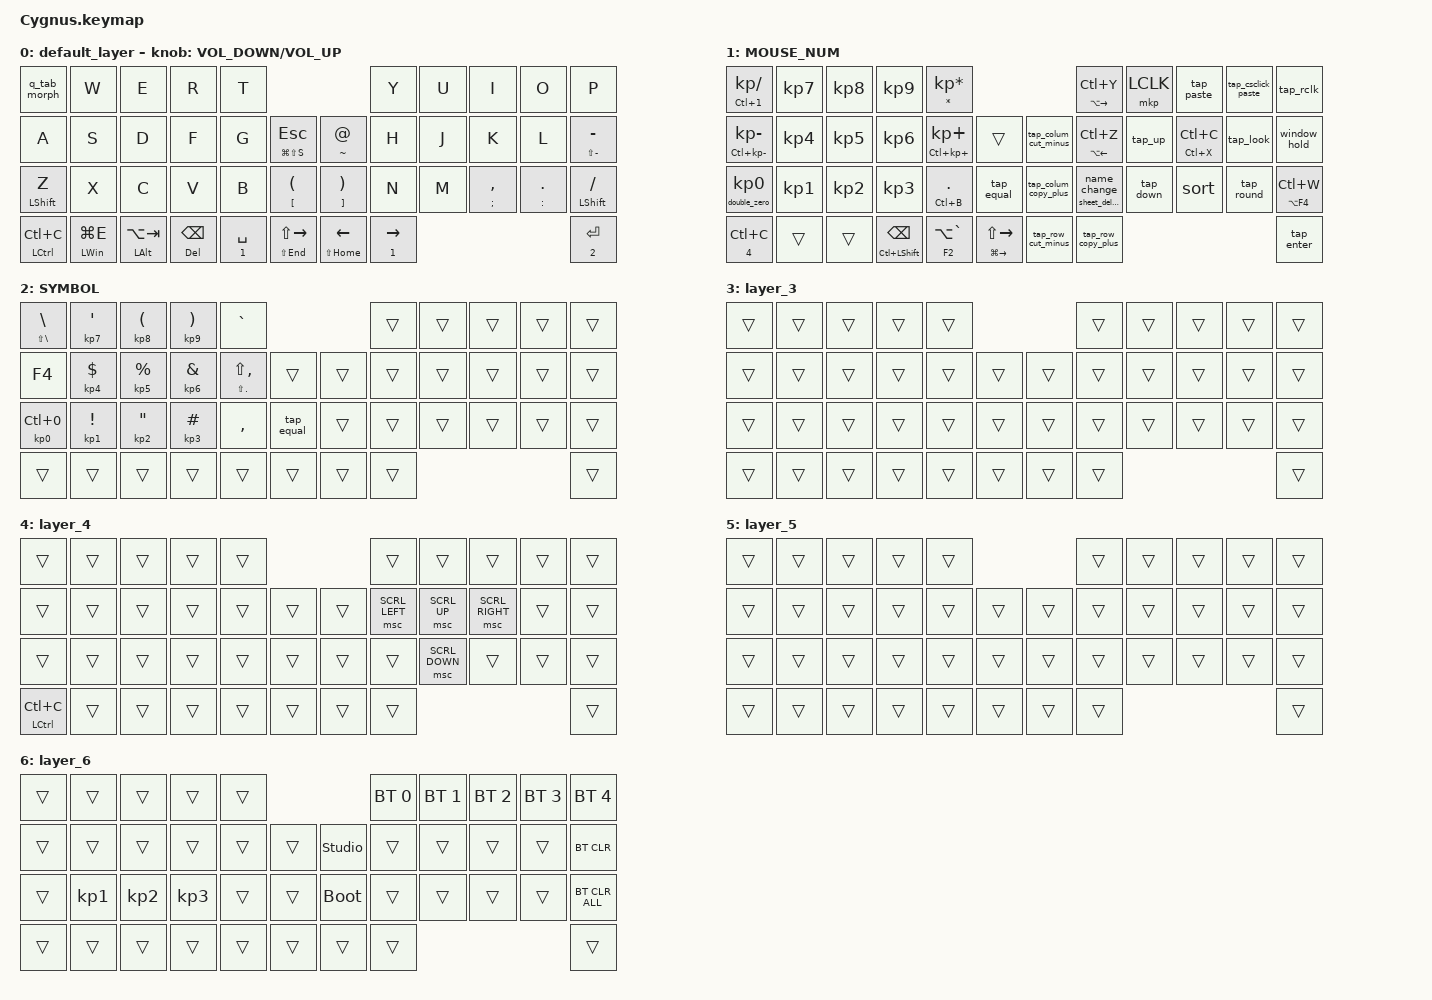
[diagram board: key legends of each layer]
#define ZMK_POINTING_DEFAULT_SCRL_VAL 60

#include <behaviors.dtsi>
#include <dt-bindings/zmk/bt.h>
#include <dt-bindings/zmk/keys.h>
#include <dt-bindings/zmk/pointing.h>

#define MOUSE 3
#define SCROLL 4
#define NUM 6

&mt {
    flavor = "balanced";
    quick-tap-ms = <250>;
    tapping-term-ms = <400>;
};

/ {
    combos {
        compatible = "zmk,combos";

        delete {
            bindings = <&mt_exit_AML_on_hold F12 DELETE>;
            key-positions = <8 9>;
            layers = <0 2 1>;
        };

        caps {
            bindings = <&mt CAPSLOCK TAB>;
            key-positions = <0 1>;
            layers = <0 2>;
        };

        f7 {
            bindings = <&kp F7>;
            key-positions = <6 5>;
            layers = <0>;
        };

        num_remove {
            bindings = <&remove_duplicates>;
            key-positions = <2 3>;
            layers = <1>;
        };

        num_numlock {
            bindings = <&mt KP_NUMLOCK TAB>;
            key-positions = <1 0>;
            layers = <1>;
        };

        merging {
            bindings = <&merging_cells>;
            key-positions = <40 41>;
            layers = <0 1>;
        };
    };

    macros {
        to_layer_0: to_layer_0 {
            compatible = "zmk,behavior-macro-one-param";
            #binding-cells = <1>;
            bindings = <&to 0 &macro_param_1to1 &kp MACRO_PLACEHOLDER>;
            label = "TO_LAYER_0";
        };

        exit_AML: exit_AML {
            compatible = "zmk,behavior-macro";
            wait-ms = <0>;
            tap-ms = <0>;
            #binding-cells = <0>;
            bindings = <&toggle_layer_off MOUSE>;
            label = "exit_AML";
        };

        kp_exit_AML: kp_exit_AML {
            compatible = "zmk,behavior-macro-one-param";
            wait-ms = <0>;
            tap-ms = <0>;
            #binding-cells = <1>;
            bindings = <&macro_param_1to1 &kp MACRO_PLACEHOLDER &exit_AML>;
            label = "KP_exit_AML";
        };

        mod_exit_AML: mod_exit_AML {
            compatible = "zmk,behavior-macro-one-param";
            wait-ms = <0>;
            tap-ms = <0>;
            #binding-cells = <1>;
            bindings =
                <&macro_press>,
                <&macro_param_1to1 &kp MACRO_PLACEHOLDER>,
                <&macro_tap>,
                <&exit_AML>,
                <&macro_pause_for_release>,
                <&macro_release>,
                <&macro_param_1to1 &kp MACRO_PLACEHOLDER>;

            label = "MOD_exit_AML";
        };

        mo_exit_AML: mo_exit_AML {
            compatible = "zmk,behavior-macro-one-param";
            wait-ms = <0>;
            tap-ms = <0>;
            #binding-cells = <1>;
            bindings =
                <&macro_press>,
                <&macro_param_1to1 &mo MACRO_PLACEHOLDER>,
                <&macro_tap>,
                <&exit_AML>,
                <&macro_pause_for_release>,
                <&macro_release>,
                <&macro_param_1to1 &mo MACRO_PLACEHOLDER>,
                <&macro_tap>;

            label = "MO_exit_AML";
        };

        shift_click: shift_crick {
            compatible = "zmk,behavior-macro";
            #binding-cells = <0>;
            bindings =
                <&macro_press>,
                <&kp LEFT_SHIFT>,
                <&macro_tap>,
                <&mkp LCLK>,
                <&macro_release>,
                <&kp LEFT_SHIFT>;

            label = "SHIFT_CRICK";
        };

        control_click: contolor_click {
            compatible = "zmk,behavior-macro";
            #binding-cells = <0>;
            bindings =
                <&macro_press>,
                <&kp LEFT_CONTROL &mkp LCLK>,
                <&macro_pause_for_release>,
                <&macro_release>,
                <&kp LEFT_CONTROL &mkp LCLK>;

            label = "CONTOLOR_CLICK";
        };

        alt_tab_swapper: alt_tab_swapper {
            compatible = "zmk,behavior-macro";
            #binding-cells = <0>;
            bindings =
                <&macro_press>,
                <&kp LEFT_ALT>,
                <&macro_tap>,
                <&kp TAB>,
                <&macro_pause_for_release>,
                <&macro_release>,
                <&kp LEFT_ALT>;

            label = "ALT_TAB_SWAPPER";
        };

        sort: transe_row_colum {
            compatible = "zmk,behavior-macro";
            #binding-cells = <0>;
            bindings = <&kp LA(D) &kp S>;
            label = "TRANSE_ROW_COLUM";
        };

        remove_duplicates: choufuku {
            compatible = "zmk,behavior-macro";
            #binding-cells = <0>;
            bindings = <&kp LEFT_ALT &kp A &kp M>;
            label = "CHOUFUKU";
        };

        window_hold: window_hold {
            compatible = "zmk,behavior-macro";
            #binding-cells = <0>;
            bindings = <&kp LEFT_ALT &kp W &kp F &kp F>;
            label = "WINDOW_HOLD";
        };

        merging_cells: merging_cells {
            compatible = "zmk,behavior-macro";
            #binding-cells = <0>;
            bindings = <&kp LEFT_ALT &kp H &kp M &kp C>;
            label = "MERGING_CELLS";
        };

        paste_formulas_only: paste_formulas_only {
            compatible = "zmk,behavior-macro";
            #binding-cells = <0>;
            bindings = <&kp LA(E) &kp S &kp F &kp ENTER>;
            label = "PASTE_FORMULAS_ONLY";
        };

        transpose_and_paste: transpose_and_paste {
            compatible = "zmk,behavior-macro";
            #binding-cells = <0>;
            bindings = <&kp LA(E) &kp S &kp E &kp V &kp ENTER>;
            label = "TRANSPOSE_AND_PASTE";
        };

        paste_memo_only: paste_memo_only {
            compatible = "zmk,behavior-macro";
            #binding-cells = <0>;
            bindings = <&kp LA(E) &kp S &kp C &kp ENTER>;
            label = "PASTE_MEMO_ONLY";
        };

        auto_calculation: auto_calculation {
            compatible = "zmk,behavior-macro";
            #binding-cells = <0>;
            bindings = <&kp LEFT_ALT &kp M &kp X &kp A>;
            label = "AUTO_CALCULATION";
        };

        auto_calculation_off: auto_calculation_off {
            compatible = "zmk,behavior-macro";
            #binding-cells = <0>;
            bindings = <&kp LEFT_ALT &kp M &kp X &kp M>;
            label = "AUTO_CALCULATION_OFF";
        };

        name_change: name_change {
            compatible = "zmk,behavior-macro";
            #binding-cells = <0>;
            bindings = <&mkp LCLK &kp F2>;
            label = "NAME_CHANGE";
        };

        sheet_delete: seet_delete {
            compatible = "zmk,behavior-macro";
            #binding-cells = <0>;
            bindings = <&kp LA(E) &kp L &kp ENTER>;
            label = "SEET_DELETE";
        };

        double_zero: double_zero {
            compatible = "zmk,behavior-macro";
            #binding-cells = <0>;
            bindings = <&kp KP_NUMBER_0 &kp KP_NUMBER_0>;
            label = "DOUBLE_ZERO";
        };

        row_plus: row_plus {
            compatible = "zmk,behavior-macro";
            #binding-cells = <0>;
            bindings = <&kp LS(SPACE) &kp LC(KP_PLUS)>;
            label = "ROW_PLUS";
        };

        row_minus: row_minus {
            compatible = "zmk,behavior-macro";
            #binding-cells = <0>;
            bindings = <&kp LS(SPACE) &kp LC(KP_MINUS)>;
            label = "ROW_MINUS";
        };

        colum_plus: colum_plus {
            compatible = "zmk,behavior-macro";
            #binding-cells = <0>;
            bindings = <&kp LC(SPACE) &kp LC(KP_PLUS)>;
            label = "COLUM_PLUS";
        };

        colum_minus: colum_minus {
            compatible = "zmk,behavior-macro";
            #binding-cells = <0>;
            bindings = <&kp LC(SPACE) &kp LC(KP_MINUS)>;
            label = "COLUM_MINUS";
        };

        row_copy: row_copy {
            compatible = "zmk,behavior-macro";
            #binding-cells = <0>;
            bindings = <&kp LS(SPACE) &kp LC(C)>;
            label = "ROW_COPY";
        };

        row_cut: row_cut {
            compatible = "zmk,behavior-macro";
            #binding-cells = <0>;
            bindings = <&kp LS(SPACE) &kp LC(X)>;
            label = "ROW_CUT";
        };

        colum_copy: colum_copy {
            compatible = "zmk,behavior-macro";
            #binding-cells = <0>;
            bindings = <&kp LC(SPACE) &kp LC(C)>;
            label = "COLUM_COPY";
        };

        colum_cut: colum_cut {
            compatible = "zmk,behavior-macro";
            #binding-cells = <0>;
            bindings = <&kp LC(SPACE) &kp LC(X)>;
            label = "COLUM_CUT";
        };

        vlookup: vlookup {
            compatible = "zmk,behavior-macro";
            #binding-cells = <0>;
            bindings = <&kp EQUAL &kp I &kp F &kp N &kp A &kp LEFT_PARENTHESIS &kp V &kp L &kp O &kp O &kp K &kp U &kp P &kp LEFT_PARENTHESIS>;
            label = "VLOOKUP";
        };

        sumif: sumif {
            compatible = "zmk,behavior-macro";
            #binding-cells = <0>;
            bindings = <&kp EQUAL &kp S &kp U &kp M &kp I &kp F &kp LPAR>;
            label = "SUMIF";
        };

        sumifs: sumifs {
            compatible = "zmk,behavior-macro";
            #binding-cells = <0>;
            bindings = <&kp EQUAL &kp S &kp U &kp M &kp I &kp F &kp S &kp LPAR>;
            label = "SUMIFS";
        };

        round: round {
            compatible = "zmk,behavior-macro";
            #binding-cells = <0>;
            bindings = <&kp EQUAL &kp R &kp O &kp U &kp N &kp D &kp LPAR &kp LPAR>;
            label = "ROUND";
        };

        roundup: roundup {
            compatible = "zmk,behavior-macro";
            #binding-cells = <0>;
            bindings = <&kp EQUAL &kp R &kp O &kp U &kp N &kp D &kp U &kp P &kp LPAR &kp LPAR>;
            label = "ROUNDUP";
        };

        rounddown: rounddown {
            compatible = "zmk,behavior-macro";
            #binding-cells = <0>;
            bindings = <&kp EQUAL &kp R &kp O &kp U &kp N &kp D &kp D &kp O &kp W &kp N &kp LPAR &kp LPAR>;
            label = "ROUNDDOWN";
        };

        sum: sum {
            compatible = "zmk,behavior-macro";
            #binding-cells = <0>;
            bindings = <&kp EQUAL &kp S &kp U &kp M &kp LPAR>;
            label = "SUM";
        };

        sumproduct: sumproduct {
            compatible = "zmk,behavior-macro";
            #binding-cells = <0>;
            bindings = <&kp EQUAL &kp S &kp U &kp M &kp P &kp R &kp O &kp D &kp U &kp C &kp T &kp LPAR>;
            label = "SUMPRODUCT";
        };
    };

    behaviors {
        lt_to_layer_0: lt_to_layer_0 {
            compatible = "zmk,behavior-hold-tap";
            #binding-cells = <2>;
            bindings = <&mo>, <&to_layer_0>;

            tapping-term-ms = <200>;
            label = "LT_TO_LAYER_0";
        };

        ROTATE: ROTATE {
            compatible = "zmk,behavior-sensor-rotate-var";
            label = "ROTATE";
            #sensor-binding-cells = <2>;
            bindings = <&msc>, <&msc>;

            tap-ms = <20>;
        };

        sl_250: sl_250 {
            compatible = "zmk,behavior-sticky-key";
            bindings = <&mo>;
            #binding-cells = <1>;
            release-after-ms = <250>;
            label = "SL_250";
        };

        toggle_layer_off: toggle_layer_off {
            compatible = "zmk,behavior-toggle-layer";
            #binding-cells = <1>;
            toggle-mode = "off";
            label = "TOGGLE_LAYER_OFF";
        };

        lt_exit_AML_on_hold: lt_exit_AML_on_hold {
            compatible = "zmk,behavior-hold-tap";
            bindings = <&mo_exit_AML>, <&kp>;

            #binding-cells = <2>;
            tapping-term-ms = <200>;
            quick-tap-ms = <200>;
            flavor = "balanced";
            label = "LT_EXIT_AML_ON_HOLD";
        };

        mt_exit_AML_on_hold: mt_exit_AML_on_hold {
            compatible = "zmk,behavior-hold-tap";
            bindings = <&mod_exit_AML>, <&kp>;

            #binding-cells = <2>;
            tapping-term-ms = <200>;
            flavor = "balanced";
            quick-tap-ms = <200>;
            label = "MT_EXIT_AML_ON_HOLD";
        };

        ht_ctrlclick_shiftclick: ht_ctrlclick_shiftclick {
            compatible = "zmk,behavior-hold-tap";
            bindings = <&control_click>, <&shift_click>;

            #binding-cells = <2>;
            tapping-term-ms = <200>;
            quick-tap-ms = <200>;
            flavor = "balanced";
            label = "HT_CTRLCLICK_SHIFTCLICK";
        };

        ht_calculation: ht_calculation {
            compatible = "zmk,behavior-hold-tap";
            bindings = <&auto_calculation>, <&auto_calculation_off>;

            #binding-cells = <2>;
            tapping-term-ms = <200>;
            quick-tap-ms = <200>;
            flavor = "balanced";
            label = "HT_CALCULATION";
        };

        ht_kp_vlookup: ht_kp_vlookup {
            compatible = "zmk,behavior-hold-tap";
            bindings = <&kp>, <&vlookup>;

            #binding-cells = <2>;
            tapping-term-ms = <200>;
            quick-tap-ms = <200>;
            flavor = "balanced";
            label = "HT_KP_VLOOKUP";
        };

        ht_sheet_delete_namechange: ht_sheet_delete_namechange {
            compatible = "zmk,behavior-hold-tap";
            bindings = <&sheet_delete>, <&name_change>;

            #binding-cells = <2>;
            tapping-term-ms = <400>;
            quick-tap-ms = <250>;
            flavor = "balanced";
            label = "HT_SHEET_DELETE_NAMECHANGE";
        };

        ht_doublezero_kp: ht_doublezero_kp {
            compatible = "zmk,behavior-hold-tap";
            bindings = <&double_zero>, <&kp>;

            #binding-cells = <2>;
            tapping-term-ms = <200>;
            quick-tap-ms = <200>;
            flavor = "balanced";
            label = "HT_DOUBLEZERO_KP";
        };

        q_tab_morph: q_tab_morph {
            compatible = "zmk,behavior-mod-morph";
            label = "Q_TAB_MORPH";
            bindings = <&kp Q>, <&alt_tab_swapper>;

            #binding-cells = <0>;
            mods = <(MOD_LALT|MOD_RALT)>;
            keep-mods = <(MOD_LALT|MOD_RALT)>;
        };

        tap_rclk: tap_rclk {
            compatible = "zmk,behavior-tap-dance";
            #binding-cells = <0>;
            bindings = <&mkp RCLK>, <&kp F9>, <&kp LC(S)>;

            tapping-term-ms = <250>;
            label = "TAP_RCLK";
        };

        tap_paste: tap_paste {
            compatible = "zmk,behavior-tap-dance";
            #binding-cells = <0>;
            bindings = <&kp LC(LS(V))>, <&kp LC(V)>, <&paste_formulas_only>;

            tapping-term-ms = <250>;
            label = "TAP_PASTE";
        };

        tap_csclick_paste: tap_csclick_paste {
            compatible = "zmk,behavior-tap-dance";
            #binding-cells = <0>;
            tapping-term-ms = <250>;
            label = "TAP_CSCLICK_PASTE";
            bindings =
                <&ht_ctrlclick_shiftclick 0 0>,
                <&transpose_and_paste>,
                <&paste_memo_only>;
        };

        tap_enter: tap_enter {
            compatible = "zmk,behavior-tap-dance";
            #binding-cells = <0>;
            bindings =
                <&mt_exit_AML_on_hold LG(D) LS(ENTER)>,
                <&mt F12 LA(ENTER)>;

            tapping-term-ms = <250>;
            label = "TAP_ENTER";
        };

        tap_equal: tap_equal {
            compatible = "zmk,behavior-tap-dance";
            #binding-cells = <0>;
            bindings = <&lt 6 EQUAL>, <&sum>, <&sumproduct>;

            tapping-term-ms = <250>;
            label = "TAP_EQUAL";
        };

        tap_look: tap_look {
            compatible = "zmk,behavior-tap-dance";
            #binding-cells = <0>;
            bindings =
                <&ht_kp_vlookup LC(LS(RIGHT_ARROW)) 0>,
                <&sumif>,
                <&sumifs>;

            tapping-term-ms = <250>;
            label = "TAP_LOOK";
        };

        tap_round: tap_round {
            compatible = "zmk,behavior-tap-dance";
            #binding-cells = <0>;
            bindings = <&round>, <&roundup>, <&rounddown>;

            tapping-term-ms = <250>;
            label = "TAP_ROUND";
        };

        tap_row_copy_plus: tap_row_copy_plus {
            compatible = "zmk,behavior-tap-dance";
            #binding-cells = <0>;
            bindings =
                <&mt_exit_AML_on_hold LS(SPACE) LC(PAGE_DOWN)>,
                <&row_copy>,
                <&row_plus>,
                <&kp LA(LS(RIGHT_ARROW))>;

            tapping-term-ms = <250>;
            label = "TAP_ROW_COPY_PLUS";
        };

        tap_row_cut_minus: tap_row_cut_minus {
            compatible = "zmk,behavior-tap-dance";
            #binding-cells = <0>;
            bindings =
                <&lt_exit_AML_on_hold 4 LC(PAGE_UP)>,
                <&row_cut>,
                <&row_minus>,
                <&kp LA(LS(LEFT_ARROW))>;

            tapping-term-ms = <250>;
            label = "TAP_ROW_CUT_MINUS";
        };

        tap_colum_copy_plus: tap_colum_copy_plus {
            compatible = "zmk,behavior-tap-dance";
            #binding-cells = <0>;
            bindings =
                <&mt_exit_AML_on_hold LC(SPACE) LC(A)>,
                <&colum_copy>,
                <&colum_plus>,
                <&kp LA(LS(RIGHT_ARROW))>;

            tapping-term-ms = <250>;
            label = "TAP_COLUM_COPY_PLUS";
        };

        tap_colum_cut_minus: tap_colum_cut_minus {
            compatible = "zmk,behavior-tap-dance";
            #binding-cells = <0>;
            bindings =
                <&ht_calculation 0 0>,
                <&colum_cut>,
                <&colum_minus>,
                <&kp LA(LS(LEFT_ARROW))>;

            tapping-term-ms = <250>;
            label = "TAP_COLUM_CUT_MINUS";
        };

        tap_up: tap_up {
            compatible = "zmk,behavior-tap-dance";
            #binding-cells = <0>;
            tapping-term-ms = <250>;
            label = "TAP_UP";
            bindings = <&mt_exit_AML_on_hold HOME UP_ARROW>, <&kp LG(UP_ARROW)>;
        };

        tap_down: tap_down {
            compatible = "zmk,behavior-tap-dance";
            #binding-cells = <0>;
            tapping-term-ms = <250>;
            label = "TAP_DOWN";
            bindings =
                <&mt_exit_AML_on_hold END DOWN_ARROW>,
                <&kp LG(DOWN_ARROW)>;
        };
    };

    keymap {
        compatible = "zmk,keymap";

        default_layer {
            bindings = <
&q_tab_morph                             &kp W                                &kp E                                  &kp R                                  &kp T                                                                                                                                       &kp Y                               &kp U  &kp I                &kp O             &kp P
&kp A                                    &kp S                                &kp D                                  &kp F                                  &kp G                         &mt LG(LS(S)) ESCAPE                                    &mt_exit_AML_on_hold TILDE AT_SIGN                    &kp H                               &kp J  &kp K                &kp L             &mt LS(MINUS) MINUS
&mt_exit_AML_on_hold LEFT_SHIFT Z        &kp X                                &kp C                                  &kp V                                  &kp B                         &mt_exit_AML_on_hold LEFT_BRACKET LEFT_PARENTHESIS      &mt_exit_AML_on_hold RIGHT_BRACKET RIGHT_PARENTHESIS  &kp N                               &kp M  &mt SEMICOLON COMMA  &mt COLON PERIOD  &mt_exit_AML_on_hold LEFT_SHIFT SLASH
&mt_exit_AML_on_hold LEFT_CONTROL LC(C)  &mt_exit_AML_on_hold LEFT_WIN LG(E)  &mt_exit_AML_on_hold LEFT_ALT LA(TAB)  &mt_exit_AML_on_hold DELETE BACKSPACE  &lt_exit_AML_on_hold 1 SPACE  &mt_exit_AML_on_hold LS(END) LS(RIGHT_ARROW)            &mt_exit_AML_on_hold LS(HOME) LEFT_ARROW              &lt_exit_AML_on_hold 1 RIGHT_ARROW                                                &lt_exit_AML_on_hold 2 ENTER
            >;

            sensor-bindings = <&inc_dec_kp C_VOLUME_DOWN C_VOLUME_UP>;
        };

        MOUSE_NUM {
            bindings = <
&mt LC(NUMBER_1) KP_DIVIDE       &kp KP_NUMBER_7  &kp KP_NUMBER_8  &kp KP_NUMBER_9                                &mt ASTERISK KP_MULTIPLY                                                                                           &mt_exit_AML_on_hold LA(RIGHT_ARROW) LC(Y)  &mkp LCLK  &tap_paste                        &tap_csclick_paste  &tap_rclk
&mt LC(KP_MINUS) KP_MINUS        &kp KP_NUMBER_4  &kp KP_NUMBER_5  &kp KP_NUMBER_6                                &mt LC(KP_PLUS) KP_PLUS            &trans                                                    &tap_colum_cut_minus  &mt_exit_AML_on_hold LA(LEFT_ARROW) LC(Z)   &tap_up    &mt_exit_AML_on_hold LC(X) LC(C)  &tap_look           &window_hold
&ht_doublezero_kp 0 KP_NUMBER_0  &kp KP_NUMBER_1  &kp KP_NUMBER_2  &kp KP_NUMBER_3                                &mt_exit_AML_on_hold LC(B) DOT     &tap_equal                                                &tap_colum_copy_plus  &ht_sheet_delete_namechange 0 0             &tap_down  &sort                             &tap_round          &mt LA(F4) LC(W)
&lt_exit_AML_on_hold 4 LC(C)     &trans           &trans           &mt_exit_AML_on_hold LC(LEFT_SHIFT) BACKSPACE  &mt_exit_AML_on_hold F2 LA(GRAVE)  &mt_exit_AML_on_hold LG(RIGHT_ARROW) LS(RIGHT_ARROW)      &tap_row_cut_minus    &tap_row_copy_plus                                                                                           &tap_enter
            >;
        };

        SYMBOL {
            bindings = <
&mt_exit_AML_on_hold LS(BACKSLASH) BACKSLASH   &mt_exit_AML_on_hold KP_NUMBER_7 APOSTROPHE   &mt_exit_AML_on_hold KP_NUMBER_8 LEFT_PARENTHESIS  &mt_exit_AML_on_hold KP_NUMBER_9 RIGHT_PARENTHESIS  &kp GRAVE                                                          &trans  &trans  &trans  &trans  &trans
&kp F4                                         &mt_exit_AML_on_hold KP_NUMBER_4 DOLLAR       &mt_exit_AML_on_hold KP_NUMBER_5 PERCENT           &mt_exit_AML_on_hold KP_NUMBER_6 AMPERSAND          &mt_exit_AML_on_hold LS(PERIOD) LS(COMMA)  &trans          &trans  &trans  &trans  &trans  &trans  &trans
&mt_exit_AML_on_hold KP_NUMBER_0 LC(NUMBER_0)  &mt_exit_AML_on_hold KP_NUMBER_1 EXCLAMATION  &mt_exit_AML_on_hold KP_NUMBER_2 DOUBLE_QUOTES     &mt_exit_AML_on_hold KP_NUMBER_3 POUND              &kp COMMA                                  &tap_equal      &trans  &trans  &trans  &trans  &trans  &trans
&trans                                         &trans                                        &trans                                             &trans                                              &trans                                     &trans          &trans  &trans                          &trans
            >;
        };

        layer_3 {
            bindings = <
&trans  &trans  &trans  &trans  &trans                      &trans  &trans  &trans  &trans  &trans
&trans  &trans  &trans  &trans  &trans  &trans      &trans  &trans  &trans  &trans  &trans  &trans
&trans  &trans  &trans  &trans  &trans  &trans      &trans  &trans  &trans  &trans  &trans  &trans
&trans  &trans  &trans  &trans  &trans  &trans      &trans  &trans                          &trans
            >;
        };

        layer_4 {
            bindings = <
&trans                                   &trans  &trans  &trans  &trans                      &trans          &trans          &trans           &trans  &trans
&trans                                   &trans  &trans  &trans  &trans  &trans      &trans  &msc SCRL_LEFT  &msc SCRL_UP    &msc SCRL_RIGHT  &trans  &trans
&trans                                   &trans  &trans  &trans  &trans  &trans      &trans  &trans          &msc SCRL_DOWN  &trans           &trans  &trans
&mt_exit_AML_on_hold LEFT_CONTROL LC(C)  &trans  &trans  &trans  &trans  &trans      &trans  &trans                                                   &trans
            >;
        };

        layer_5 {
            bindings = <
&trans  &trans  &trans  &trans  &trans                      &trans  &trans  &trans  &trans  &trans
&trans  &trans  &trans  &trans  &trans  &trans      &trans  &trans  &trans  &trans  &trans  &trans
&trans  &trans  &trans  &trans  &trans  &trans      &trans  &trans  &trans  &trans  &trans  &trans
&trans  &trans  &trans  &trans  &trans  &trans      &trans  &trans                          &trans
            >;
        };

        layer_6 {
            bindings = <
&trans  &trans           &trans           &trans           &trans                              &bt BT_SEL 0  &bt BT_SEL 1  &bt BT_SEL 2  &bt BT_SEL 3  &bt BT_SEL 4
&trans  &trans           &trans           &trans           &trans  &trans      &studio_unlock  &trans        &trans        &trans        &trans        &bt BT_CLR
&trans  &kp KP_NUMBER_1  &kp KP_NUMBER_2  &kp KP_NUMBER_3  &trans  &trans      &bootloader     &trans        &trans        &trans        &trans        &bt BT_CLR_ALL
&trans  &trans           &trans           &trans           &trans  &trans      &trans          &trans                                                  &trans
            >;
        };
    };
};
